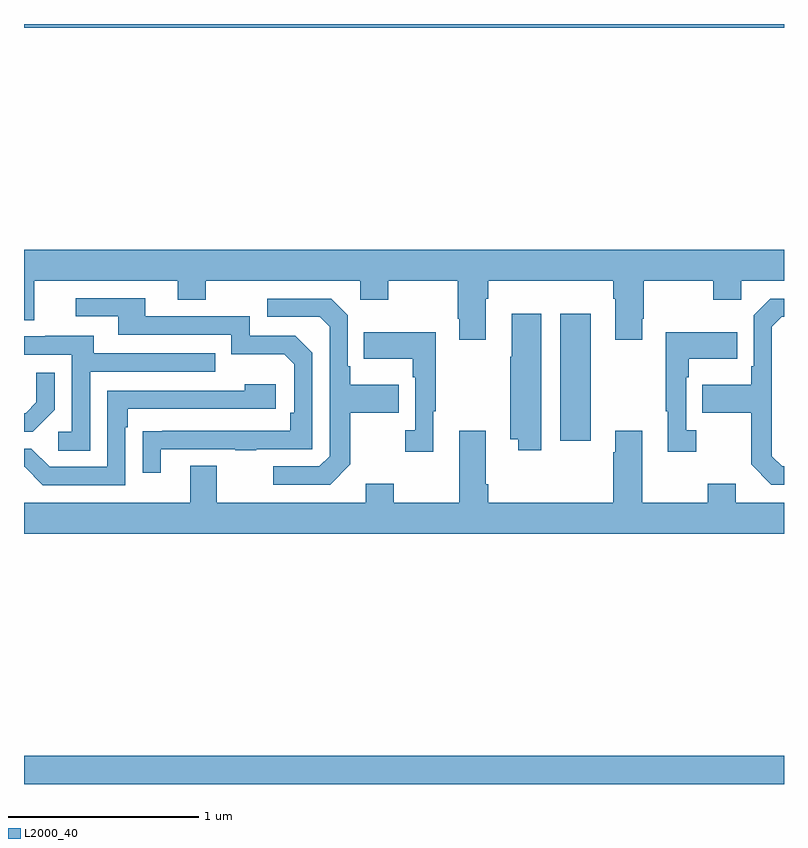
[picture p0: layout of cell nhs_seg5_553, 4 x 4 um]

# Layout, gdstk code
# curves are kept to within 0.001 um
import gdstk
lib = gdstk.Library(unit=1e-6, precision=1e-09)
def R(c, l, rs):  # rectangles x0, y0, x1, y1
    for r in rs: c.add(gdstk.rectangle(r[:2], r[2:], *l))
def P(c, l, *ps):  # polygons
    for p in ps: c.add(gdstk.Polygon(p, *l))
L2000_40 = (2000, 40)

nhs_seg5_553 = lib.new_cell('nhs_seg5_553')
R(nhs_seg5_553, L2000_40, [(147,832.799,151,832.948), (149.822,834.606,149.983,835.273), (147,836.78,151,836.799)])
P(nhs_seg5_553, L2000_40, [(147,835.24),(147.055,835.24),(147.055,835.448),(147.809,835.448),(147.809,835.349),(147.957,835.349),(147.957,835.448),(148.77,835.448),(148.77,835.349),(148.917,835.349),(148.917,835.448),(149.284,835.448),(149.284,835.249),(149.291,835.249),(149.291,835.137),(149.431,835.137),(149.431,835.352),(149.444,835.352),(149.444,835.448),(150.101,835.448),(150.101,835.352),(150.113,835.352),(150.113,835.137),(150.253,835.137),(150.253,835.249),(150.261,835.249),(150.261,835.448),(150.628,835.448),(150.628,835.349),(150.774,835.349),(150.774,835.448),(151,835.448),(151,835.612),(147,835.612)],
  [(147.721,834.561),(148.111,834.561),(148.111,834.556),(148.223,834.556),(148.223,834.561),(148.518,834.561),(148.518,835.068),(148.428,835.158),(148.188,835.158),(148.188,835.26),(147.637,835.26),(147.637,835.356),(147.273,835.356),(147.273,835.26),(147.497,835.26),(147.497,835.164),(148.092,835.164),(148.092,835.061),(148.369,835.061),(148.422,835.008),(148.422,834.754),(148.402,834.754),(148.402,834.657),(147.625,834.656),(147.625,834.438),(147.721,834.438)],
  [(151,834.471),(150.99,834.471),(150.936,834.525),(150.936,835.206),(150.987,835.257),(151,835.257),(151,835.353),(150.927,835.353),(150.84,835.266),(150.84,834.997),(150.828,834.997),(150.828,834.901),(150.571,834.901),(150.571,834.754),(150.828,834.754),(150.828,834.481),(150.933,834.375),(151,834.375)],
  [(148.717,834.481),(148.717,834.754),(148.973,834.754),(148.973,834.901),(148.717,834.901),(148.717,834.997),(148.704,834.997),(148.704,835.266),(148.617,835.353),(148.281,835.353),(148.281,835.257),(148.557,835.257),(148.608,835.206),(148.608,834.525),(148.554,834.471),(148.311,834.471),(148.311,834.375),(148.611,834.375)],
  [(149.722,835.273),(149.567,835.273),(149.567,835.049),(149.56,835.049),(149.56,834.614),(149.6,834.614),(149.6,834.555),(149.722,834.555)],
  [(149.155,834.761),(149.167,834.761),(149.167,835.177),(148.789,835.177),(148.789,835.037),(149.046,835.037),(149.046,834.941),(149.058,834.941),(149.058,834.662),(149.007,834.662),(149.007,834.549),(149.155,834.549)],
  [(150.538,834.662),(150.486,834.662),(150.486,834.941),(150.499,834.941),(150.499,835.037),(150.755,835.037),(150.755,835.177),(150.378,835.177),(150.378,834.761),(150.389,834.761),(150.389,834.549),(150.538,834.549)],
  [(147.348,834.969),(148.007,834.969),(148.007,835.065),(147.367,835.065),(147.367,835.159),(147.113,835.159),(147.113,835.155),(147,835.155),(147,835.059),(147.252,835.059),(147.252,834.654),(147.18,834.654),(147.18,834.553),(147.348,834.553)],
  [(147.162,834.77),(147.162,834.964),(147.065,834.964),(147.065,834.807),(147.008,834.75),(147,834.75),(147,834.654),(147.046,834.654)],
  [(147.534,834.677),(147.547,834.677),(147.547,834.774),(148.324,834.774),(148.324,834.904),(148.163,834.904),(148.163,834.87),(147.438,834.87),(147.438,834.468),(147.135,834.468),(147.039,834.564),(147,834.564),(147,834.468),(147.003,834.468),(147.099,834.372),(147.534,834.372)],
  [(151,834.28),(150.745,834.28),(150.745,834.379),(150.598,834.379),(150.598,834.28),(150.253,834.28),(150.253,834.658),(150.113,834.658),(150.113,834.545),(150.101,834.545),(150.101,834.28),(149.444,834.28),(149.444,834.376),(149.431,834.376),(149.431,834.658),(149.291,834.658),(149.291,834.28),(148.947,834.28),(148.947,834.379),(148.799,834.379),(148.799,834.28),(148.015,834.28),(148.015,834.475),(147.875,834.475),(147.875,834.28),(147,834.28),(147,834.116),(151,834.116)])

lib.write_gds('nhs_seg5_553.gds')
